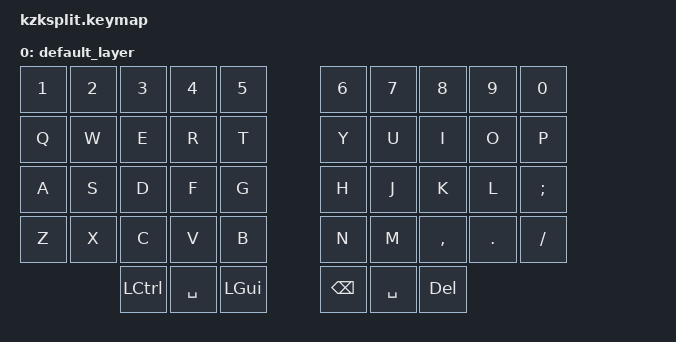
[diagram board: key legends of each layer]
/*
 * Copyright (c) 2021 The ZMK Contributors
 *
 * SPDX-License-Identifier: MIT
 */

#include <behaviors.dtsi>
#include <dt-bindings/zmk/keys.h>
#include <dt-bindings/zmk/bt.h>

/ {
        keymap {
                compatible = "zmk,keymap";

                default_layer {
                        bindings = <
                    &kp N1 &kp N2 &kp N3 &kp N4 &kp N5    &kp N6 &kp N7  &kp N8    &kp N9  &kp N0
                    &kp Q  &kp W  &kp E  &kp R  &kp T     &kp Y  &kp U   &kp I     &kp O   &kp P
                    &kp A  &kp S  &kp D  &kp F  &kp G     &kp H  &kp J   &kp K     &kp L   &kp SEMI
                    &kp Z  &kp X  &kp C  &kp V  &kp B     &kp N  &kp M   &kp COMMA &kp DOT &kp FSLH
                        &kp LCTRL  &kp SPACE &kp LGUI       &kp BSPC &kp SPACE &kp DEL
                        >;
                };
        };
};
